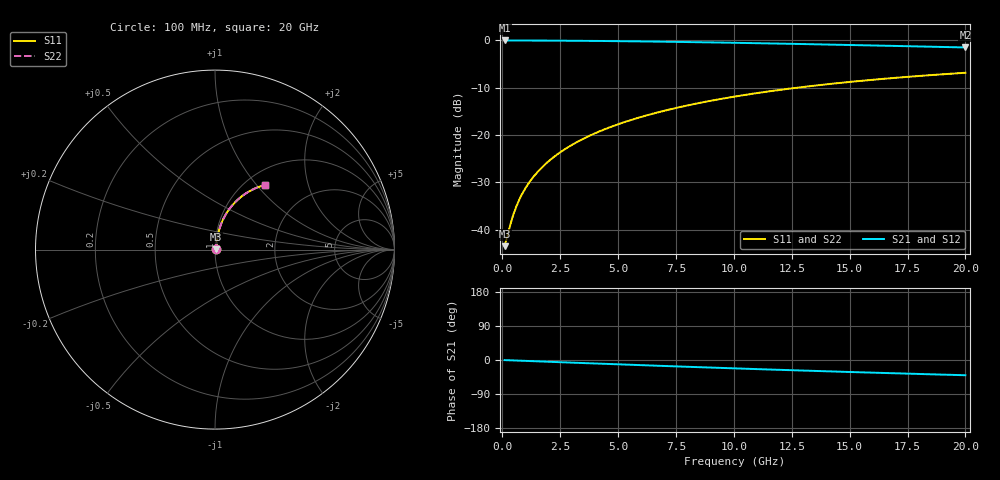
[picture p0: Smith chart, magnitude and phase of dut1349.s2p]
! Touchstone file exported from HFSS 2024.1.0
!  File:  C:/UserFiles/LocalFiles/RDL_TSV_Batchsim/temp_RDL_bottom_1349_1780370184.aedt
!  Generated:  11:19:22 AM Jun  2, 2026
!  Design:  RDL_bottom
!  Project:  temp_RDL_bottom_1349_1780370184
!  Setup:  Setup1
!  Solution:  Sweep
! Variables:
!  dtsv = 10.80580581um
!  hbump = 3um
!  htsv = 86.1um
!  ldown = 510.3um
!  lrdl = 100um
!  p = 40
!  p1 = 44.9um
!  rhole = 1um
!  t = 450um
!  tdown = 2.37um
!  trdl = 3.915915916um
!  wdown = 12.63um
!  wrdl = 20um
# GHz S MA R 50.000000
! Terminal data exported
! Port[1] = RDL1_T1
! Port[2] = RDL1_T2
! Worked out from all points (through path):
!   200 points, 100 MHz to 20 GHz, reference 50 ohm
!   highest |S21| = -0.05 dB at 100 MHz (marker M1); lowest = -1.5 dB at 20 GHz (marker M2)
!   group delay of S21, straight-line fit = 5.59 ps
!   lowest |S11| = -43.4 dB at 100 MHz (marker M3), VSWR 1.01, Z = 50.6 + j0.276 ohm
!   |S11| at or under -10 dB: start of sweep to 12.76 GHz
!   |S22| runs from -43.4 to -6.9 dB; largest |S21 - S12| = 2.7e-15
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0.1  0.006732 23.9  0.9938 -0.2  0.9938 -0.2  0.006732 23.9
! Gamma 0 0 0 0
! Port Impedance 50 0 50 0
0.4  0.0126 59.0  0.9935 -1.0  0.9935 -1.0  0.0126 59.0
0.5  0.01501 63.7  0.9934 -1.2  0.9934 -1.2  0.01501 63.7
0.6  0.01748 66.9  0.9932 -1.4  0.9932 -1.4  0.01748 66.9
0.7  0.01997 69.3  0.993 -1.7  0.993 -1.7  0.01997 69.3
0.9  0.025 72.6  0.9927 -2.1  0.9927 -2.1  0.025 72.6
1.2  0.03257 75.4  0.9921 -2.8  0.9921 -2.8  0.03257 75.4
1.4  0.03764 76.6  0.9916 -3.3  0.9916 -3.3  0.03764 76.6
1.7  0.04527 77.8  0.991 -4.0  0.991 -4.0  0.04527 77.8
2.2  0.05803 78.8  0.9896 -5.1  0.9896 -5.1  0.05803 78.8
2.8  0.0734 79.1  0.9877 -6.5  0.9877 -6.5  0.0734 79.1
3.5  0.09137 79.0  0.985 -8.1  0.985 -8.1  0.09137 79.0
4.2  0.1093 78.4  0.9817 -9.7  0.9817 -9.7  0.1093 78.4
5  0.1298 77.5  0.9774 -11.4  0.9774 -11.4  0.1298 77.5
5.9  0.1527 76.3  0.9719 -13.4  0.9719 -13.4  0.1527 76.3
6.8  0.1754 74.9  0.9657 -15.4  0.9657 -15.4  0.1754 74.9
8.4  0.2151 72.3  0.9533 -18.8  0.9533 -18.8  0.2151 72.3
10.1  0.2559 69.3  0.9386 -22.3  0.9386 -22.3  0.2559 69.4
11.7  0.2927 66.5  0.9236 -25.4  0.9236 -25.4  0.2928 66.5
13.4  0.33 63.5  0.9069 -28.7  0.9069 -28.7  0.33 63.5
16.7  0.396 57.8  0.8729 -34.7  0.8729 -34.7  0.396 57.8
20  0.4535 52.5  0.8385 -40.2  0.8385 -40.2  0.4536 52.5
